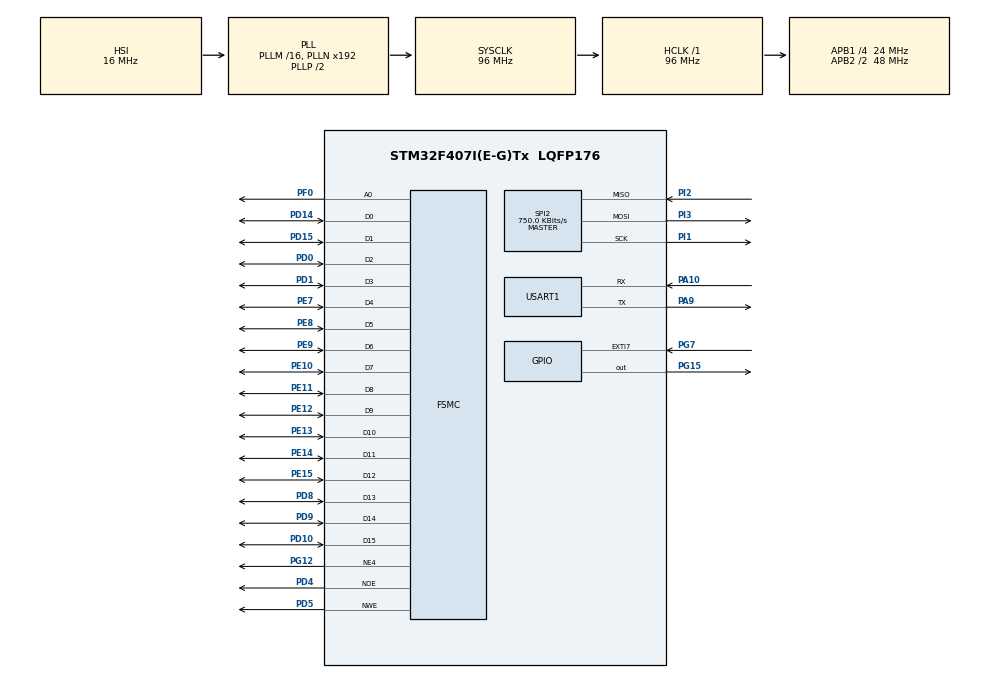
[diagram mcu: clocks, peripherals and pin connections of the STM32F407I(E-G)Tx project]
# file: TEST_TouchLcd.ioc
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Mcu.Family=STM32F4
Mcu.Name=STM32F407I(E-G)Tx
Mcu.Package=LQFP176
NVIC.EXTI9_5_IRQn=true\:0\:0\:false
NVIC.PriorityGroup=NVIC_PRIORITYGROUP_4
NVIC.USART1_IRQn=true\:0\:0\:false
PA10.Mode=Asynchronous
PA10.Signal=USART1_RX
PA13.Mode=Serial-Wire
PA13.Signal=SYS_JTMS-SWDIO
PA14.Mode=Serial-Wire
PA14.Signal=SYS_JTCK-SWCLK
PA9.Mode=Asynchronous
PA9.Signal=USART1_TX
PC14-OSC32_IN.Mode=LSE-External-Clock-Source
PC14-OSC32_IN.Signal=RCC_OSC32_IN
PC15-OSC32_OUT.Mode=LSE-External-Clock-Source
PC15-OSC32_OUT.Signal=RCC_OSC32_OUT
PD0.Signal=FSMC_D2_DA2
PD1.Signal=FSMC_D3_DA3
PD10.Signal=FSMC_D15_DA15
PD14.Signal=FSMC_D0_DA0
PD15.Signal=FSMC_D1_DA1
PD4.Signal=FSMC_NOE
PD5.Signal=FSMC_NWE
PD8.Signal=FSMC_D13_DA13
PD9.Signal=FSMC_D14_DA14
PE10.Signal=FSMC_D7_DA7
PE11.Signal=FSMC_D8_DA8
PE12.Signal=FSMC_D9_DA9
PE13.Signal=FSMC_D10_DA10
PE14.Signal=FSMC_D11_DA11
PE15.Signal=FSMC_D12_DA12
PE7.Signal=FSMC_D4_DA4
PE8.Signal=FSMC_D5_DA5
PE9.Signal=FSMC_D6_DA6
PF0.Signal=FSMC_A0
PG12.Mode=NorPsramChipSelect4_2
PG12.Signal=FSMC_NE4
PG15.Signal=GPIO_Output
PG7.GPIO_ModeDefaultEXTI=GPIO_MODE_IT_FALLING
PG7.GPIO_PuPd=GPIO_PULLUP
PG7.Signal=GPXTI7
PH0-OSC_IN.Mode=HSE-External-Oscillator
PH0-OSC_IN.Signal=RCC_OSC_IN
PH1-OSC_OUT.Mode=HSE-External-Oscillator
PH1-OSC_OUT.Signal=RCC_OSC_OUT
PI1.GPIO_Mode=GPIO_MODE_AF_PP
PI1.GPIO_PuPd=GPIO_PULLDOWN
PI1.GPIO_Speed=GPIO_SPEED_FAST
PI1.Mode=Full_Duplex_Master
PI1.Signal=SPI2_SCK
PI2.GPIO_Mode=GPIO_MODE_AF_PP
PI2.GPIO_PuPd=GPIO_PULLDOWN
PI2.GPIO_Speed=GPIO_SPEED_FAST
PI2.Mode=Full_Duplex_Master
PI2.Signal=SPI2_MISO
PI3.GPIO_Mode=GPIO_MODE_AF_PP
PI3.GPIO_PuPd=GPIO_PULLDOWN
PI3.GPIO_Speed=GPIO_SPEED_FAST
PI3.Mode=Full_Duplex_Master
PI3.Signal=SPI2_MOSI
ProjectManager.HeapSize=0x200
ProjectManager.StackSize=0x400
ProjectManager.TargetToolchain=MDK-ARM V5
RCC.48MHZClocksFreq_Value=48000000
RCC.AHBFreq_Value=96000000
RCC.APB1CLKDivider=RCC_HCLK_DIV4
RCC.APB1Freq_Value=24000000
RCC.APB1TimFreq_Value=48000000
RCC.APB2CLKDivider=RCC_HCLK_DIV2
RCC.APB2Freq_Value=48000000
RCC.APB2TimFreq_Value=96000000
RCC.CortexFreq_Value=96000000
RCC.HCLKFreq_Value=96000000
RCC.HSE_VALUE=25000000
RCC.HSI_VALUE=16000000
RCC.LSE_VALUE=32768
RCC.SYSCLKFreq_VALUE=96000000
RCC.SYSCLKSource=RCC_SYSCLKSOURCE_PLLCLK
RCC.VCOOutputFreq_Value=192000000
SH.FSMC_A0.0=FSMC_A0,A0_2
SH.FSMC_D0_DA0.0=FSMC_D0,16b-d2
SH.FSMC_D10_DA10.0=FSMC_D10,16b-d2
SH.FSMC_D11_DA11.0=FSMC_D11,16b-d2
SH.FSMC_D12_DA12.0=FSMC_D12,16b-d2
SH.FSMC_D13_DA13.0=FSMC_D13,16b-d2
SH.FSMC_D14_DA14.0=FSMC_D14,16b-d2
SH.FSMC_D15_DA15.0=FSMC_D15,16b-d2
SH.FSMC_D1_DA1.0=FSMC_D1,16b-d2
SH.FSMC_D2_DA2.0=FSMC_D2,16b-d2
SH.FSMC_D3_DA3.0=FSMC_D3,16b-d2
SH.FSMC_D4_DA4.0=FSMC_D4,16b-d2
SH.FSMC_D5_DA5.0=FSMC_D5,16b-d2
SH.FSMC_D6_DA6.0=FSMC_D6,16b-d2
SH.FSMC_D7_DA7.0=FSMC_D7,16b-d2
SH.FSMC_D8_DA8.0=FSMC_D8,16b-d2
SH.FSMC_D9_DA9.0=FSMC_D9,16b-d2
SH.FSMC_NOE.0=FSMC_NOE,Lcd2
SH.FSMC_NWE.0=FSMC_NWE,Lcd2
SPI2.BaudRatePrescaler=SPI_BAUDRATEPRESCALER_32
SPI2.CLKPhase=SPI_PHASE_1EDGE
SPI2.CLKPolarity=SPI_POLARITY_LOW
SPI2.CRCCalculation=SPI_CRCCALCULATION_DISABLED
SPI2.CalculateBaudRate=750.0 KBits/s
SPI2.Mode=SPI_MODE_MASTER
board=TEST_TouchLcd

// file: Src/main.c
/**
  ******************************************************************************
  * File Name          : main.c
  * Description        : Main program body
  ******************************************************************************
  *
  * COPYRIGHT(c) 2015 STMicroelectronics
  *
  * Redistribution and use in source and binary forms, with or without modification,
  * are permitted provided that the following conditions are met:
  *   1. Redistributions of source code must retain the above copyright notice,
  *      this list of conditions and the following disclaimer.
  *   2. Redistributions in binary form must reproduce the above copyright notice,
  *      this list of conditions and the following disclaimer in the documentation
  *      and/or other materials provided with the distribution.
  *   3. Neither the name of STMicroelectronics nor the names of its contributors
  *      may be used to endorse or promote products derived from this software
  *      without specific prior written permission.
  *
  * THIS SOFTWARE IS PROVIDED BY THE COPYRIGHT HOLDERS AND CONTRIBUTORS "AS IS"
  * AND ANY EXPRESS OR IMPLIED WARRANTIES, INCLUDING, BUT NOT LIMITED TO, THE
  * IMPLIED WARRANTIES OF MERCHANTABILITY AND FITNESS FOR A PARTICULAR PURPOSE ARE
  * DISCLAIMED. IN NO EVENT SHALL THE COPYRIGHT HOLDER OR CONTRIBUTORS BE LIABLE
  * FOR ANY DIRECT, INDIRECT, INCIDENTAL, SPECIAL, EXEMPLARY, OR CONSEQUENTIAL
  * DAMAGES (INCLUDING, BUT NOT LIMITED TO, PROCUREMENT OF SUBSTITUTE GOODS OR
  * SERVICES; LOSS OF USE, DATA, OR PROFITS; OR BUSINESS INTERRUPTION) HOWEVER
  * CAUSED AND ON ANY THEORY OF LIABILITY, WHETHER IN CONTRACT, STRICT LIABILITY,
  * OR TORT (INCLUDING NEGLIGENCE OR OTHERWISE) ARISING IN ANY WAY OUT OF THE USE
  * OF THIS SOFTWARE, EVEN IF ADVISED OF THE POSSIBILITY OF SUCH DAMAGE.
  *
  ******************************************************************************
  */
#include "stm32f4xx_hal.h"
#include "spi.h"
#include "usart.h"
#include "gpio.h"
#include "fsmc.h"

/* USER CODE BEGIN Includes */
#include "lcd.h"
#include "Touch.h"
#include "stdio.h"
#include "menu.h"
/* USER CODE END Includes */

/* USER CODE BEGIN PV */
/* Private variables ---------------------------------------------------------*/
extern uint8_t CMD_X[3];
extern uint8_t CMD_Y[3];
////uint8_t CMD_X[6] ={0xD0,0x00,0x00,0x00,0x00,0x00};
////uint8_t CMD_Y[6] ={0x90,0x00,0x00,0x00,0x00,0x00};
//uint8_t  pseudo_data[2]={0x00,0x00};
extern uint8_t SPI_RE[3];

extern uint8_t Cmd_Buf[15];
extern uint8_t Cmdcont;
extern unsigned char gImage_menu[];
extern unsigned char gImage_fg[];
uint8_t aaa[16] = {0};
uint8_t recv_end_flag = 0;
uint8_t rx_len = 0;
uint8_t Dowm_flag = 0;  //1 表示已经按下
uint16_t line_x = 0;        //存储当前坐标
uint16_t line_y = 0;
uint16_t Date = 0;
uint8_t j = 0;
/* USER CODE END PV */

void SystemClock_Config(void);

/* USER CODE BEGIN PFP */
/* Private function prototypes -----------------------------------------------*/
void lcd_init(void);

void Touch_Init(void);

//void Refreshes_Screen(void);
void lcd_clear(unsigned short Color);

void LCD_DrawPicture(uint16_t StartX, uint16_t StartY, uint16_t Xend, uint16_t Yend, uint8_t *pic);
/* USER CODE END PFP */

/* USER CODE BEGIN 0 */
Pen_Holder Pen_Point;    /* 定义笔实体 */
/* USER CODE END 0 */

int main(void) {

    /* MCU Configuration----------------------------------------------------------*/

    /* Reset of all peripherals, Initializes the Flash interface and the Systick. */
    HAL_Init();

    /* Configure the system clock */
    SystemClock_Config();

    /* Initialize all configured peripherals */
    MX_GPIO_Init();
    MX_FSMC_Init();
    MX_SPI2_Init();
    //MX_TIM12_Init();
    MX_USART1_UART_Init();

    /* USER CODE BEGIN 2 */
    //HAL_TIM_PWM_Start(&htim12, TIM_CHANNEL_1);
    lcd_init();
    printf("=====init======\n");
    menu_init();
//    LCD_DrawPicture(0, 0, 480, 272, (uint8_t *) gImage_fg);        //480、272为图片的高度和宽度
    printf("init ok!!!!!!\n");
    /* USER CODE END 2 */

    /* Infinite loop */
    while (1) {

        /* USER CODE BEGIN 3 */

        if (Pen_Point.Key_Sta == Key_Down)     //触摸屏被按下
        {
//			HAL_NVIC_DisableIRQ(EXTI9_5_IRQn);			     //关闭中断
            HAL_Delay(20);
            if (!HAL_GPIO_ReadPin(GPIOG, GPIO_PIN_7)) {
                HAL_NVIC_DisableIRQ(EXTI9_5_IRQn);    //关闭中断
                // printf("++++++intter+++++\r\n");

                if (Convert_Pos())             //存放点击的X,Y的坐标值	成功转换 返回1 失败返回0
                {
                    line_x = Pen_Point.X0;
                    line_y = Pen_Point.Y0;
                    HAL_Delay(200);
                    //						while(!HAL_GPIO_ReadPin(GPIOG,GPIO_PIN_7));		//判断P_7是否还在按下，直到抬起来止  按下为0，抬起为1
                    // printf("x = %d,y = %d\r\n", line_x, line_y);
                    menu_select(line_x, line_y); //TODO
                    Pen_Point.X0 = 0;
                    Pen_Point.Y0 = 0;
                    Pen_Point.Key_Sta = Key_Up;            //处理数据后, 回复到没有按下的状态
                }

                Pen_Point.Key_Sta = Key_Up;            //处理数据后, 回复到没有按下的状态
               // printf("%%%%%%%%%%%%%%\r\n");
                HAL_NVIC_EnableIRQ(EXTI9_5_IRQn);                     //开启中断
            } else {
                HAL_NVIC_EnableIRQ(EXTI9_5_IRQn);
                Pen_Point.Key_Sta = Key_Up;
                continue;
            }
        }
        /********MENU HANDLER********/

        /****************************/
    }
    /* USER CODE END 3 */

}

/** System Clock Configuration
*/
void SystemClock_Config(void) {

    RCC_OscInitTypeDef RCC_OscInitStruct;
    RCC_ClkInitTypeDef RCC_ClkInitStruct;

    __PWR_CLK_ENABLE();

    __HAL_PWR_VOLTAGESCALING_CONFIG(PWR_REGULATOR_VOLTAGE_SCALE1);

    RCC_OscInitStruct.OscillatorType = RCC_OSCILLATORTYPE_HSI;
    RCC_OscInitStruct.HSIState = RCC_HSI_ON;
    RCC_OscInitStruct.HSICalibrationValue = 16;
    RCC_OscInitStruct.PLL.PLLState = RCC_PLL_ON;
    RCC_OscInitStruct.PLL.PLLSource = RCC_PLLSOURCE_HSI;
    RCC_OscInitStruct.PLL.PLLM = 16;
    RCC_OscInitStruct.PLL.PLLN = 192;
    RCC_OscInitStruct.PLL.PLLP = RCC_PLLP_DIV2;
    RCC_OscInitStruct.PLL.PLLQ = 4;
    HAL_RCC_OscConfig(&RCC_OscInitStruct);

    RCC_ClkInitStruct.ClockType = RCC_CLOCKTYPE_SYSCLK | RCC_CLOCKTYPE_PCLK1
                                  | RCC_CLOCKTYPE_PCLK2;
    RCC_ClkInitStruct.SYSCLKSource = RCC_SYSCLKSOURCE_PLLCLK;
    RCC_ClkInitStruct.AHBCLKDivider = RCC_SYSCLK_DIV1;
    RCC_ClkInitStruct.APB1CLKDivider = RCC_HCLK_DIV4;
    RCC_ClkInitStruct.APB2CLKDivider = RCC_HCLK_DIV2;
    HAL_RCC_ClockConfig(&RCC_ClkInitStruct, FLASH_LATENCY_3);

    HAL_SYSTICK_Config(HAL_RCC_GetHCLKFreq() / 1000);

    HAL_SYSTICK_CLKSourceConfig(SYSTICK_CLKSOURCE_HCLK);

}

/* USER CODE BEGIN 4 */
int fputc(int ch, FILE *f) {
    while ((USART1->SR & 0X40) == 0);//循环发送,直到发送完毕
    USART1->DR = (uint8_t) ch;
    return ch;
}
/* USER CODE END 4 */

/************************ (C) COPYRIGHT STMicroelectronics *****END OF FILE****/
